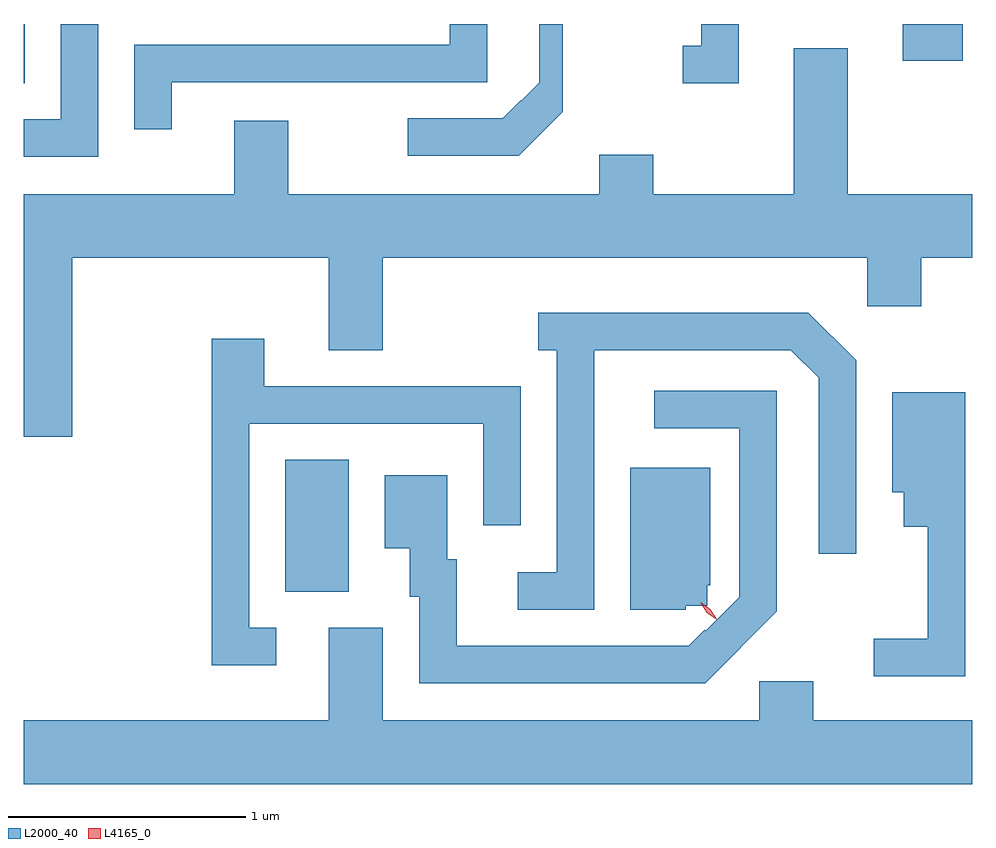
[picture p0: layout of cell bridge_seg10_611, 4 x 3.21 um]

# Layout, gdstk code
import gdstk
lib = gdstk.Library(unit=1e-6, precision=1e-09)
def R(c, l, rs):  # rectangles x0, y0, x1, y1
    for r in rs: c.add(gdstk.rectangle(r[:2], r[2:], *l))
def P(c, l, *ps):  # polygons
    for p in ps: c.add(gdstk.Polygon(p, *l))
L2000_40 = (2000, 40)
L4165_0 = (4165, 0)

bridge_seg10_611 = lib.new_cell('bridge_seg10_611')
R(bridge_seg10_611, L2000_40, [(657.376,2103.626,657.644,2104.184), (656.274,2105.771,656.279,2106.021), (659.981,2105.866,660.234,2106.021)])
P(bridge_seg10_611, L2000_40, [(656.899,2105.776),(658.229,2105.776),(658.229,2106.021),(658.071,2106.021),(658.071,2105.934),(656.741,2105.934),(656.741,2105.578),(656.899,2105.578)],
  [(656.589,2106.021),(656.431,2106.021),(656.431,2105.619),(656.274,2105.619),(656.274,2105.461),(656.589,2105.461)],
  [(658.547,2105.652),(658.547,2106.021),(658.447,2106.021),(658.447,2105.774),(658.371,2105.698),(658.369,2105.7),(658.294,2105.624),(657.893,2105.624),(657.893,2105.466),(658.362,2105.466)],
  [(659.289,2106.021),(659.131,2106.021),(659.131,2105.929),(659.053,2105.929),(659.053,2105.771),(659.289,2105.771)],
  [(656.479,2105.036),(657.561,2105.036),(657.561,2104.646),(657.789,2104.646),(657.789,2105.036),(659.831,2105.036),(659.831,2104.831),(660.059,2104.831),(660.059,2105.036),(660.274,2105.036),(660.274,2105.304),(659.749,2105.304),(659.749,2105.919),(659.521,2105.919),(659.521,2105.304),(658.929,2105.304),(658.929,2105.469),(658.701,2105.469),(658.701,2105.304),(657.389,2105.304),(657.389,2105.614),(657.161,2105.614),(657.161,2105.304),(656.274,2105.304),(656.274,2104.281),(656.479,2104.281)],
  [(658.679,2104.646),(659.509,2104.646),(659.626,2104.529),(659.626,2103.788),(659.784,2103.788),(659.784,2104.602),(659.582,2104.804),(658.443,2104.804),(658.443,2104.646),(658.521,2104.646),(658.521,2103.709),(658.358,2103.709),(658.358,2103.551),(658.679,2103.551)],
  [(657.338,2103.474),(657.224,2103.474),(657.224,2104.336),(658.211,2104.336),(658.211,2103.908),(658.369,2103.908),(658.369,2104.494),(657.289,2104.494),(657.289,2104.694),(657.066,2104.694),(657.066,2103.316),(657.338,2103.316)],
  [(659.449,2103.544),(659.449,2104.474),(658.933,2104.474),(658.933,2104.316),(659.291,2104.316),(659.291,2103.603),(659.15,2103.462),(659.146,2103.466),(659.079,2103.399),(658.099,2103.399),(658.099,2103.764),(658.059,2103.764),(658.059,2104.119),(657.796,2104.119),(657.796,2103.811),(657.901,2103.811),(657.901,2103.606),(657.941,2103.606),(657.941,2103.241),(659.147,2103.241)],
  [(660.244,2104.469),(659.936,2104.469),(659.936,2104.046),(659.986,2104.046),(659.986,2103.901),(660.086,2103.901),(660.086,2103.429),(659.858,2103.429),(659.858,2103.271),(660.244,2103.271)],
  [(659.066,2103.568),(659.156,2103.568),(659.156,2103.655),(659.169,2103.655),(659.169,2103.755),(659.17,2103.755),(659.17,2104.149),(658.831,2104.149),(658.831,2103.551),(659.066,2103.551)],
  [(660.274,2103.084),(659.604,2103.084),(659.604,2103.249),(659.376,2103.249),(659.376,2103.084),(657.789,2103.084),(657.789,2103.474),(657.561,2103.474),(657.561,2103.084),(656.274,2103.084),(656.274,2102.816),(660.274,2102.816)])
P(bridge_seg10_611, L4165_0, [(659.194,2103.513),(659.156,2103.539),(659.131,2103.579),(659.131,2103.579),(659.132,2103.579),(659.17,2103.553),(659.195,2103.514),(659.195,2103.513)],
  [(659.195,2103.51),(659.155,2103.539),(659.129,2103.581),(659.129,2103.582),(659.13,2103.582),(659.169,2103.552),(659.196,2103.511),(659.196,2103.51)])

lib.write_gds('bridge_seg10_611.gds')
